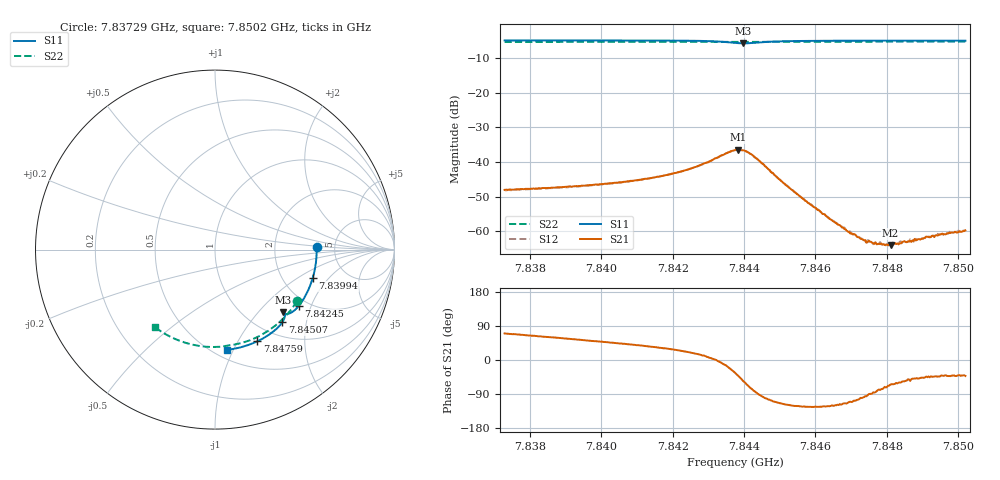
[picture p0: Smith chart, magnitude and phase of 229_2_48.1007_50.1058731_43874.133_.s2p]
#  HZ  S  RI  R  50.00
! Rohde & Schwarz Vector Network Analyzer
! Rohde-Schwarz,ZNB20-2Port,1311601062101988,3.16
! Created: UTC 12/23/2023, 3:57:34 AM
! freq[Hz]  re:S11  im:S11  re:S21  im:S21  re:S12  im:S12  re:S22  im:S22
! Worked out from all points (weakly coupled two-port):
!   401 points, 7.83729 GHz to 7.8502 GHz, reference 50 ohm
!   highest |S21| = -36.44 dB at 7.84384 GHz (marker M1); lowest = -64.0 dB at 7.8481 GHz (marker M2)
!   lowest |S11| = -5.8 dB at 7.84397 GHz (marker M3), VSWR 3.13, Z = 72.4 - j68.8 ohm
!   |S11| at or under -10 dB: nowhere
!   |S22| runs from -5.4 to -5.3 dB; largest |S21 - S12| = 0.00028
!   S11 on the Smith chart (normalised r, x): 7.83729 GHz: 3.60, +0.18; 7.83994 GHz: 2.92, -1.36; 7.84245 GHz: 1.78, -1.64; 7.84507 GHz: 1.25, -1.46; 7.84759 GHz: 0.81, -1.21; 7.8502 GHz: 0.58, -0.95
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7.837289e9  0.566 0.017  0.00135 0.00373  0.00136 0.00371  0.4568 -0.2872
7.839451e9  0.5528 -0.1263  0.00275 0.00364  0.00269 0.0036  0.36 -0.4033
7.839936e9  0.5445 -0.1578  0.00313 0.00359  0.00309 0.00354  0.3339 -0.4251
7.841614e9  0.5003 -0.264  0.00518 0.00332  0.00516 0.00332  0.2344 -0.4879
7.842454e9  0.4661 -0.3142  0.0074 0.00277  0.00734 0.00281  0.1798 -0.5106
7.843261e9  0.4176 -0.3546  0.0116 -0.000588  0.0115 -0.000484  0.1252 -0.5258
7.843745e9  0.3831 -0.3561  0.0124 -0.00825  0.0124 -0.00818  0.0929 -0.5311
7.843842e9  0.3797 -0.353  0.0111 -0.0102  0.0112 -0.0101  0.0867 -0.5319
7.843971e9  0.3792 -0.3489  0.00845 -0.0121  0.00848 -0.012  0.0785 -0.5332
7.844261e9  0.3869 -0.3521  0.00202 -0.012  0.00214 -0.012  0.06 -0.5366
7.845068e9  0.3749 -0.4051  -0.00224 -0.00467  -0.00221 -0.00471  0.00406 -0.5427
7.845908e9  0.3332 -0.4497  -0.00131 -0.00197  -0.00128 -0.00197  -0.0554 -0.5407
7.846973e9  0.2728 -0.4918  -0.000321 -0.000877  -0.000403 -0.000917  -0.1294 -0.5287
7.847102e9  0.2652 -0.4961  -0.000272 -0.000865  -0.000276 -0.000816  -0.1381 -0.5266
7.847393e9  0.2478 -0.5052  -6.88e-05 -0.000745  -7.92e-05 -0.000712  -0.1579 -0.5213
7.847586e9  0.236 -0.5111  1.65e-05 -0.000689  4.07e-05 -0.000686  -0.1707 -0.5172
7.847909e9  0.2162 -0.5199  0.000181 -0.00063  0.00017 -0.000597  -0.1923 -0.5099
7.84807e9  0.2061 -0.5239  0.000253 -0.0006  0.000227 -0.000599  -0.2028 -0.5057
7.848103e9  0.204 -0.5247  0.00027 -0.000571  0.000244 -0.000644  -0.205 -0.5051
7.848555e9  0.1757 -0.5349  0.000406 -0.000569  0.000409 -0.000563  -0.234 -0.4925
7.849426e9  0.1193 -0.5499  0.000628 -0.000605  0.000662 -0.000636  -0.2878 -0.4638
7.850201e9  0.0685 -0.5584  0.000765 -0.000691  0.000807 -0.000657  -0.3327 -0.433
